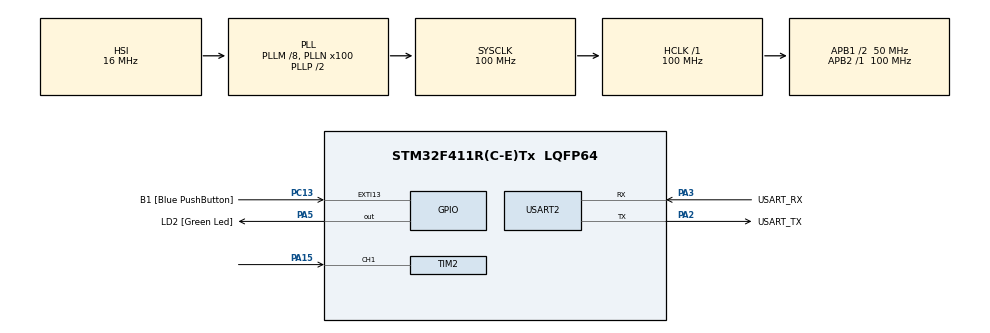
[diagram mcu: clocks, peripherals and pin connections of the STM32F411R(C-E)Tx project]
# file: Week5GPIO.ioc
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Mcu.Family=STM32F4
PC15-OSC32_OUT.Mode=LSE-External-Oscillator
Dma.TIM2_CH1.0.MemInc=DMA_MINC_ENABLE
VP_TIM5_VS_ClockSourceINT.Mode=Internal
RCC.CortexFreq_Value=100000000
TIM2.Channel-Input_Capture1_from_TI1=TIM_CHANNEL_1
PC13-ANTI_TAMP.GPIO_Label=B1 [Blue PushButton]
PA14.GPIO_Label=TCK
PH1\ -\ OSC_OUT.Mode=HSE-External-Clock-Source
Dma.TIM2_CH1.0.Instance=DMA1_Stream5
RCC.APB1CLKDivider=RCC_HCLK_DIV2
PC14-OSC32_IN.Signal=RCC_OSC32_IN
RCC.SYSCLKSource=RCC_SYSCLKSOURCE_PLLCLK
ProjectManager.StackSize=0x400
PA3.Mode=Asynchronous
PA13.Signal=SYS_JTMS-SWDIO
PH0\ -\ OSC_IN.Mode=HSE-External-Clock-Source
PH0\ -\ OSC_IN.Signal=RCC_OSC_IN
ProjectManager.TargetToolchain=STM32CubeIDE
NVIC.DMA1_Stream5_IRQn=true\:0\:0\:false\:false\:true\:false\:true
RCC.HCLKFreq_Value=100000000
RCC.APB2TimFreq_Value=100000000
PC15-OSC32_OUT.Signal=RCC_OSC32_OUT
RCC.AHBFreq_Value=100000000
PA5.Signal=GPIO_Output
RCC.HSE_VALUE=8000000
PH1\ -\ OSC_OUT.Signal=RCC_OSC_OUT
board=NUCLEO-F411RE
PC13-ANTI_TAMP.Signal=GPXTI13
RCC.VCOOutputFreq_Value=200000000
RCC.APB2Freq_Value=100000000
Dma.TIM2_CH1.0.Priority=DMA_PRIORITY_LOW
PC14-OSC32_IN.Mode=LSE-External-Oscillator
VP_TIM2_VS_ClockSourceINT.Mode=Internal
PA14.Mode=Serial_Wire
PA13.Mode=Serial_Wire
Mcu.Name=STM32F411R(C-E)Tx
PA2.Signal=USART2_TX
PA13.GPIO_Label=TMS
RCC.FLatency-AdvancedSettings=FLASH_LATENCY_3
RCC.48MHZClocksFreq_Value=50000000
PB3.Signal=SYS_JTDO-SWO
RCC.SYSCLKFreq_VALUE=100000000
Mcu.Package=LQFP64
Dma.TIM2_CH1.0.Mode=DMA_CIRCULAR
TIM2.Prescaler=99
Dma.TIM2_CH1.0.FIFOMode=DMA_FIFOMODE_DISABLE
PA5.GPIO_Label=LD2 [Green Led]
TIM5.Prescaler=99
USART2.VirtualMode=VM_ASYNC
PC13-ANTI_TAMP.GPIO_ModeDefaultEXTI=GPIO_MODE_IT_FALLING
PA2.GPIO_Label=USART_TX
Dma.TIM2_CH1.0.MemDataAlignment=DMA_MDATAALIGN_WORD
SH.S_TIM2_CH1_ETR.0=TIM2_CH1,Input_Capture1_from_TI1
PA14.Signal=SYS_JTCK-SWCLK
PA15.Signal=S_TIM2_CH1_ETR
ProjectManager.HeapSize=0x200
Dma.TIM2_CH1.0.PeriphDataAlignment=DMA_PDATAALIGN_WORD
RCC.HSI_VALUE=16000000
NVIC.PriorityGroup=NVIC_PRIORITYGROUP_0
RCC.PLLM=8
RCC.PLLN=100
RCC.APB1TimFreq_Value=100000000
PA2.Mode=Asynchronous
Dma.Request0=TIM2_CH1
RCC.APB1Freq_Value=50000000
Dma.TIM2_CH1.0.Direction=DMA_PERIPH_TO_MEMORY
Dma.TIM2_CH1.0.PeriphInc=DMA_PINC_DISABLE
PA3.GPIO_Label=USART_RX
PA3.Signal=USART2_RX
PB3.GPIO_Label=SWO

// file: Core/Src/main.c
/* USER CODE BEGIN Header */
/**
  ******************************************************************************
  * @file           : main.c
  * @brief          : Main program body
  ******************************************************************************
  * @attention
  *
  * <h2><center>&copy; Copyright (c) 2021 STMicroelectronics.
  * All rights reserved.</center></h2>
  *
  * This software component is licensed by ST under BSD 3-Clause license,
  * the "License"; You may not use this file except in compliance with the
  * License. You may obtain a copy of the License at:
  *                        opensource.org/licenses/BSD-3-Clause
  *
  ******************************************************************************
  */
/* USER CODE END Header */
#include "main.h"

/* USER CODE BEGIN PD */
#define CAPTURENUM 32
/* USER CODE END PD */

TIM_HandleTypeDef htim2;
TIM_HandleTypeDef htim5;
DMA_HandleTypeDef hdma_tim2_ch1;

UART_HandleTypeDef huart2;

/* USER CODE BEGIN PV */

//12 P/R , Gear reduction 1 : 64
//DMA Buffer
uint32_t capturedata[CAPTURENUM] = { 0 };

//diff time of capture data
int64_t DiffTime[CAPTURENUM-1] = { 0 };

//Mean difftime
float MeanTime =0;

float CapPulsePerSec = 0;
float MotorSpeed = 0;

//for microsecond measurement
uint64_t _micros = 0;
uint64_t TimeStamp = 0;
/* USER CODE END PV */

void SystemClock_Config(void);
static void MX_GPIO_Init(void);
static void MX_DMA_Init(void);
static void MX_USART2_UART_Init(void);
static void MX_TIM2_Init(void);
static void MX_TIM5_Init(void);
/* USER CODE BEGIN PFP */
uint64_t micros();
void encoderSpeedReaderCycle();
/* USER CODE END PFP */

int main(void)
{

  /* MCU Configuration--------------------------------------------------------*/

  /* Reset of all peripherals, Initializes the Flash interface and the Systick. */
  HAL_Init();

  /* Configure the system clock */
  SystemClock_Config();

  /* Initialize all configured peripherals */
  MX_GPIO_Init();
  MX_DMA_Init();
  MX_USART2_UART_Init();
  MX_TIM2_Init();
  MX_TIM5_Init();
  /* USER CODE BEGIN 2 */

  //start us count
  HAL_TIM_Base_Start_IT(&htim5);

  //start Input capture in DMA
  HAL_TIM_Base_Start(&htim2);
  HAL_TIM_IC_Start_DMA(&htim2, TIM_CHANNEL_1, (uint32_t*) &capturedata, CAPTURENUM);

  /* USER CODE END 2 */

  /* Infinite loop */
  /* USER CODE BEGIN WHILE */
  while (1)
  {
	  encoderSpeedReaderCycle();

	  if(micros()-TimeStamp > 100000)//us
	  {
		  TimeStamp = micros();
		  HAL_GPIO_TogglePin(LD2_GPIO_Port, LD2_Pin);
	  }
    /* USER CODE END WHILE */

    /* USER CODE BEGIN 3 */
	  if(MeanTime == 0)
	  {
		  CapPulsePerSec = 0.0;
	  }
	  else
	  {
		  CapPulsePerSec = 1000000.0/MeanTime;
	  }

	  MotorSpeed = (CapPulsePerSec/12.0)*(60.0/64.0);
  }
  /* USER CODE END 3 */
}

void SystemClock_Config(void)
{
  RCC_OscInitTypeDef RCC_OscInitStruct = {0};
  RCC_ClkInitTypeDef RCC_ClkInitStruct = {0};

  /** Configure the main internal regulator output voltage
  */
  __HAL_RCC_PWR_CLK_ENABLE();
  __HAL_PWR_VOLTAGESCALING_CONFIG(PWR_REGULATOR_VOLTAGE_SCALE1);
  /** Initializes the RCC Oscillators according to the specified parameters
  * in the RCC_OscInitTypeDef structure.
  */
  RCC_OscInitStruct.OscillatorType = RCC_OSCILLATORTYPE_HSI;
  RCC_OscInitStruct.HSIState = RCC_HSI_ON;
  RCC_OscInitStruct.HSICalibrationValue = RCC_HSICALIBRATION_DEFAULT;
  RCC_OscInitStruct.PLL.PLLState = RCC_PLL_ON;
  RCC_OscInitStruct.PLL.PLLSource = RCC_PLLSOURCE_HSI;
  RCC_OscInitStruct.PLL.PLLM = 8;
  RCC_OscInitStruct.PLL.PLLN = 100;
  RCC_OscInitStruct.PLL.PLLP = RCC_PLLP_DIV2;
  RCC_OscInitStruct.PLL.PLLQ = 4;
  if (HAL_RCC_OscConfig(&RCC_OscInitStruct) != HAL_OK)
  {
    Error_Handler();
  }
  /** Initializes the CPU, AHB and APB buses clocks
  */
  RCC_ClkInitStruct.ClockType = RCC_CLOCKTYPE_HCLK|RCC_CLOCKTYPE_SYSCLK
                              |RCC_CLOCKTYPE_PCLK1|RCC_CLOCKTYPE_PCLK2;
  RCC_ClkInitStruct.SYSCLKSource = RCC_SYSCLKSOURCE_PLLCLK;
  RCC_ClkInitStruct.AHBCLKDivider = RCC_SYSCLK_DIV1;
  RCC_ClkInitStruct.APB1CLKDivider = RCC_HCLK_DIV2;
  RCC_ClkInitStruct.APB2CLKDivider = RCC_HCLK_DIV1;

  if (HAL_RCC_ClockConfig(&RCC_ClkInitStruct, FLASH_LATENCY_3) != HAL_OK)
  {
    Error_Handler();
  }
}

static void MX_TIM2_Init(void)
{

  TIM_ClockConfigTypeDef sClockSourceConfig = {0};
  TIM_MasterConfigTypeDef sMasterConfig = {0};
  TIM_IC_InitTypeDef sConfigIC = {0};

  htim2.Instance = TIM2;
  htim2.Init.Prescaler = 99;
  htim2.Init.CounterMode = TIM_COUNTERMODE_UP;
  htim2.Init.Period = 4294967295;
  htim2.Init.ClockDivision = TIM_CLOCKDIVISION_DIV1;
  htim2.Init.AutoReloadPreload = TIM_AUTORELOAD_PRELOAD_DISABLE;
  if (HAL_TIM_Base_Init(&htim2) != HAL_OK)
  {
    Error_Handler();
  }
  sClockSourceConfig.ClockSource = TIM_CLOCKSOURCE_INTERNAL;
  if (HAL_TIM_ConfigClockSource(&htim2, &sClockSourceConfig) != HAL_OK)
  {
    Error_Handler();
  }
  if (HAL_TIM_IC_Init(&htim2) != HAL_OK)
  {
    Error_Handler();
  }
  sMasterConfig.MasterOutputTrigger = TIM_TRGO_RESET;
  sMasterConfig.MasterSlaveMode = TIM_MASTERSLAVEMODE_DISABLE;
  if (HAL_TIMEx_MasterConfigSynchronization(&htim2, &sMasterConfig) != HAL_OK)
  {
    Error_Handler();
  }
  sConfigIC.ICPolarity = TIM_INPUTCHANNELPOLARITY_RISING;
  sConfigIC.ICSelection = TIM_ICSELECTION_DIRECTTI;
  sConfigIC.ICPrescaler = TIM_ICPSC_DIV1;
  sConfigIC.ICFilter = 0;
  if (HAL_TIM_IC_ConfigChannel(&htim2, &sConfigIC, TIM_CHANNEL_1) != HAL_OK)
  {
    Error_Handler();
  }

}

static void MX_TIM5_Init(void)
{

  TIM_ClockConfigTypeDef sClockSourceConfig = {0};
  TIM_MasterConfigTypeDef sMasterConfig = {0};

  htim5.Instance = TIM5;
  htim5.Init.Prescaler = 99;
  htim5.Init.CounterMode = TIM_COUNTERMODE_UP;
  htim5.Init.Period = 4294967295;
  htim5.Init.ClockDivision = TIM_CLOCKDIVISION_DIV1;
  htim5.Init.AutoReloadPreload = TIM_AUTORELOAD_PRELOAD_DISABLE;
  if (HAL_TIM_Base_Init(&htim5) != HAL_OK)
  {
    Error_Handler();
  }
  sClockSourceConfig.ClockSource = TIM_CLOCKSOURCE_INTERNAL;
  if (HAL_TIM_ConfigClockSource(&htim5, &sClockSourceConfig) != HAL_OK)
  {
    Error_Handler();
  }
  sMasterConfig.MasterOutputTrigger = TIM_TRGO_RESET;
  sMasterConfig.MasterSlaveMode = TIM_MASTERSLAVEMODE_DISABLE;
  if (HAL_TIMEx_MasterConfigSynchronization(&htim5, &sMasterConfig) != HAL_OK)
  {
    Error_Handler();
  }

}

static void MX_USART2_UART_Init(void)
{

  huart2.Instance = USART2;
  huart2.Init.BaudRate = 115200;
  huart2.Init.WordLength = UART_WORDLENGTH_8B;
  huart2.Init.StopBits = UART_STOPBITS_1;
  huart2.Init.Parity = UART_PARITY_NONE;
  huart2.Init.Mode = UART_MODE_TX_RX;
  huart2.Init.HwFlowCtl = UART_HWCONTROL_NONE;
  huart2.Init.OverSampling = UART_OVERSAMPLING_16;
  if (HAL_UART_Init(&huart2) != HAL_OK)
  {
    Error_Handler();
  }

}

static void MX_DMA_Init(void)
{

  /* DMA controller clock enable */
  __HAL_RCC_DMA1_CLK_ENABLE();

  /* DMA interrupt init */
  /* DMA1_Stream5_IRQn interrupt configuration */
  HAL_NVIC_SetPriority(DMA1_Stream5_IRQn, 0, 0);
  HAL_NVIC_EnableIRQ(DMA1_Stream5_IRQn);

}

static void MX_GPIO_Init(void)
{
  GPIO_InitTypeDef GPIO_InitStruct = {0};

  /* GPIO Ports Clock Enable */
  __HAL_RCC_GPIOC_CLK_ENABLE();
  __HAL_RCC_GPIOH_CLK_ENABLE();
  __HAL_RCC_GPIOA_CLK_ENABLE();
  __HAL_RCC_GPIOB_CLK_ENABLE();

  /*Configure GPIO pin Output Level */
  HAL_GPIO_WritePin(LD2_GPIO_Port, LD2_Pin, GPIO_PIN_RESET);

  /*Configure GPIO pin : B1_Pin */
  GPIO_InitStruct.Pin = B1_Pin;
  GPIO_InitStruct.Mode = GPIO_MODE_IT_FALLING;
  GPIO_InitStruct.Pull = GPIO_NOPULL;
  HAL_GPIO_Init(B1_GPIO_Port, &GPIO_InitStruct);

  /*Configure GPIO pin : LD2_Pin */
  GPIO_InitStruct.Pin = LD2_Pin;
  GPIO_InitStruct.Mode = GPIO_MODE_OUTPUT_PP;
  GPIO_InitStruct.Pull = GPIO_NOPULL;
  GPIO_InitStruct.Speed = GPIO_SPEED_FREQ_LOW;
  HAL_GPIO_Init(LD2_GPIO_Port, &GPIO_InitStruct);

}

/* USER CODE BEGIN 4 */
void encoderSpeedReaderCycle()
{
	//get DMA Position form number of data
	uint32_t CapPos = CAPTURENUM -  __HAL_DMA_GET_COUNTER(htim2.hdma[TIM_DMA_ID_CC1]);
	uint32_t sum = 0 ;

	//calculate diff from all buffer
	for(register int i=0 ;i < CAPTURENUM-1;i++)
	{
		DiffTime[i]  = capturedata[(CapPos+1+i)%CAPTURENUM]-capturedata[(CapPos+i)%CAPTURENUM];
		//time never go back, but timer can over flow , compensate that
		if (DiffTime[i] <0)
		{
			DiffTime[i]+=4294967295;
		}
		//Sum all 15 Diff
		sum += DiffTime[i];
	}

	//mean all 15 Diff
	MeanTime =sum / (float)(CAPTURENUM-1);
}

uint64_t micros()
{
	return _micros + htim5.Instance->CNT;//counter of Timer5
}

//interrupt
void HAL_TIM_PeriodElapsedCallback(TIM_HandleTypeDef *htim)
{
	if(htim == &htim5)
	{
		_micros += 4294967295;
	}
}
/* USER CODE END 4 */

void Error_Handler(void)
{
  __disable_irq();
  while (1)
  {
  }
}

/************************ (C) COPYRIGHT STMicroelectronics *****END OF FILE****/
